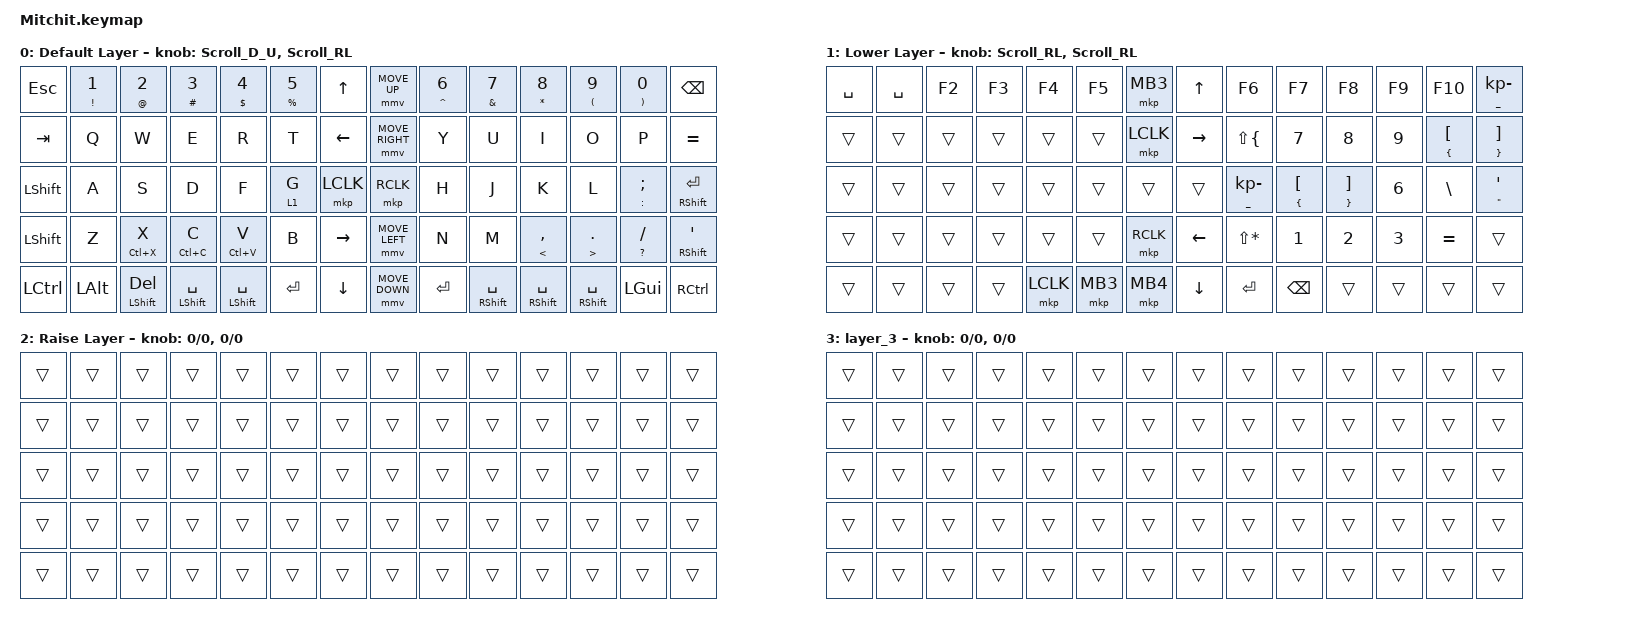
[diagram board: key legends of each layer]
/*
 * Copyright (c) 2020 The ZMK Contributors
 *
 * SPDX-License-Identifier: MIT
 */

#include <input/processors.dtsi>
#include <zephyr/dt-bindings/input/input-event-codes.h>
#include <dt-bindings/zmk/mouse.h>
#include <behaviors/mouse_keys.dtsi>
#include <behaviors.dtsi>
#include <dt-bindings/zmk/bt.h>
#include <dt-bindings/zmk/keys.h>
#include <dt-bindings/zmk/pointing.h>

#define ZMK_POINTING_DEFAULT_MOVE_VAL 1200  // 600
#define ZMK_POINTING_DEFAULT_SCRL_VAL 900   // mousescroll SPEED

&mmv_input_listener { input-processors = <&zip_xy_scaler 2 1>; };

&msc_input_listener { input-processors = <&zip_scroll_scaler 2 1>; };

&msc {
    acceleration-exponent = <1>;      // 0
    time-to-max-speed-ms = <100>;       // 300
    delay-ms = <0>;                   // 0
};

&mmv {
    time-to-max-speed-ms = <500>;
    acceleration-exponent = <1>;
    trigger-period-ms = <16>;
};

&soft_off {
    hold-time-ms = <3000>; // Only turn off it the key is held for 3 seconds or longer.
};

&mt {
    tapping-term-ms = <300>;
    flavor = "balanced";
};

&lt { tapping-term-ms = <300>; };

/ {
    behaviors {
        Scroll_D_U: Scroll_D_U {
            compatible = "zmk,behavior-sensor-rotate";
            label = "SCROLL_D_U";
            #sensor-binding-cells = <0>;
            bindings = <&msc SCRL_DOWN>, <&msc SCRL_UP>;

            tap-ms = <20>;
        };

        TD01: TD01 {
            compatible = "zmk,behavior-tap-dance";
            label = "TD01";
            #binding-cells = <0>;
            bindings = <&kp MINUS>, <&kp PERIOD>;
        };

        Scroll_U_D: Scroll_U_D {
            compatible = "zmk,behavior-sensor-rotate";
            label = "SCROLL_U_D";
            #sensor-binding-cells = <0>;
            bindings = <&msc SCRL_UP>, <&msc SCRL_DOWN>;

            tap-ms = <20>;
        };

        Scroll_LR: Scroll_LR {
            compatible = "zmk,behavior-sensor-rotate";
            label = "SCROLL_LR";
            #sensor-binding-cells = <0>;
            bindings = <&msc SCRL_LEFT>, <&msc SCRL_RIGHT>;

            tap-ms = <20>;
        };

        Scroll_RL: Scroll_RL {
            compatible = "zmk,behavior-sensor-rotate";
            label = "SCROLL_RL";
            #sensor-binding-cells = <0>;
            bindings = <&msc SCRL_RIGHT>, <&msc SCRL_LEFT>;

            tap-ms = <20>;
        };
    };

    combos {
        compatible = "zmk,combos";

        Combo_CLR_BT {
            bindings = <&bt BT_CLR_ALL>;
            key-positions = <13 0>;
            layers = <1>;
        };

        left-shift {
            bindings = <&kp LEFT_GUI>;
            key-positions = <56 57>;
            timeout-ms = <40>;
        };

        righ-shift {
            bindings = <&mo 1>;
            key-positions = <38 37>;
            timeout-ms = <40>;
        };
    };

    keymap {
        compatible = "zmk,keymap";

        default_layer {
            display-name = "Default Layer";
            bindings = <
&kp ESC         &mt EXCL NUMBER_1  &mt AT NUMBER_2     &mt HASH N3           &mt DOLLAR NUMBER_4   &mt PERCENT N5  &kp UP     &mmv MOVE_UP     &mt CARET N6  &mt AMPS N7            &mt ASTRK N8           &mt LEFT_PARENTHESIS N9  &mt RIGHT_PARENTHESIS N0  &kp BACKSPACE
&kp TAB         &kp Q              &kp W               &kp E                 &kp R                 &kp T           &kp LEFT   &mmv MOVE_RIGHT  &kp Y         &kp U                  &kp I                  &kp O                    &kp P                     &kp EQUAL
&kp LSHIFT      &kp A              &kp S               &kp D                 &kp F                 &lt 1 G         &mkp LCLK  &mkp RCLK        &kp H         &kp J                  &kp K                  &kp L                    &mt COLON SEMI            &mt RIGHT_SHIFT ENTER
&kp LEFT_SHIFT  &kp Z              &mt LC(X) X         &mt LC(C) C           &mt LC(V) V           &kp B           &kp RIGHT  &mmv MOVE_LEFT   &kp N         &kp M                  &mt LESS_THAN COMMA    &mt GREATER_THAN PERIOD  &mt QUESTION FSLH         &mt RIGHT_SHIFT APOS
&kp LCTRL       &kp LEFT_ALT       &mt LEFT_SHIFT DEL  &mt LEFT_SHIFT SPACE  &mt LEFT_SHIFT SPACE  &kp RET         &kp DOWN   &mmv MOVE_DOWN   &kp RET       &mt RIGHT_SHIFT SPACE  &mt RIGHT_SHIFT SPACE  &mt RIGHT_SHIFT SPACE    &kp LEFT_GUI              &kp RIGHT_CONTROL
            >;

            sensor-bindings = <&Scroll_D_U>, <&Scroll_RL>;
        };

        lower_layer {
            display-name = "Lower Layer";
            bindings = <
&kp SPACE  &kp SPACE  &kp F2  &kp F3  &kp F4     &kp F5    &mkp MB3   &kp UP     &kp F6              &kp F7                       &kp F8                  &kp F9  &kp F10                &mt UNDER KP_MINUS
&trans     &trans     &trans  &trans  &trans     &trans    &mkp LCLK  &kp RIGHT  &kp LS(LBRC)        &kp N7                       &kp N8                  &kp N9  &mt LBRC LEFT_BRACKET  &mt RBRC RBKT
&trans     &trans     &trans  &trans  &trans     &trans    &trans     &trans     &mt UNDER KP_MINUS  &mt LEFT_BRACE LEFT_BRACKET  &mt RBRC RIGHT_BRACKET  &kp N6  &kp BSLH               &mt DOUBLE_QUOTES APOS
&trans     &trans     &trans  &trans  &trans     &trans    &mkp RCLK  &kp LEFT   &kp LS(STAR)        &kp N1                       &kp N2                  &kp N3  &kp EQUAL              &trans
&trans     &trans     &trans  &trans  &mkp LCLK  &mkp MB3  &mkp MB4   &kp DOWN   &kp ENTER           &kp BACKSPACE                &trans                  &trans  &trans                 &trans
            >;

            sensor-bindings = <&Scroll_RL>, <&Scroll_RL>;
        };

        raise_layer {
            display-name = "Raise Layer";
            bindings = <
&trans  &trans  &trans  &trans  &trans  &trans  &trans  &trans  &trans  &trans  &trans  &trans  &trans  &trans
&trans  &trans  &trans  &trans  &trans  &trans  &trans  &trans  &trans  &trans  &trans  &trans  &trans  &trans
&trans  &trans  &trans  &trans  &trans  &trans  &trans  &trans  &trans  &trans  &trans  &trans  &trans  &trans
&trans  &trans  &trans  &trans  &trans  &trans  &trans  &trans  &trans  &trans  &trans  &trans  &trans  &trans
&trans  &trans  &trans  &trans  &trans  &trans  &trans  &trans  &trans  &trans  &trans  &trans  &trans  &trans
            >;

            sensor-bindings = <&inc_dec_kp 0 0>, <&inc_dec_kp 0 0>;
        };

        layer_3 {
            bindings = <
&trans  &trans  &trans  &trans  &trans  &trans  &trans  &trans  &trans  &trans  &trans  &trans  &trans  &trans
&trans  &trans  &trans  &trans  &trans  &trans  &trans  &trans  &trans  &trans  &trans  &trans  &trans  &trans
&trans  &trans  &trans  &trans  &trans  &trans  &trans  &trans  &trans  &trans  &trans  &trans  &trans  &trans
&trans  &trans  &trans  &trans  &trans  &trans  &trans  &trans  &trans  &trans  &trans  &trans  &trans  &trans
&trans  &trans  &trans  &trans  &trans  &trans  &trans  &trans  &trans  &trans  &trans  &trans  &trans  &trans
            >;

            sensor-bindings = <&inc_dec_kp 0 0>, <&inc_dec_kp 0 0>;
        };
    };
};
